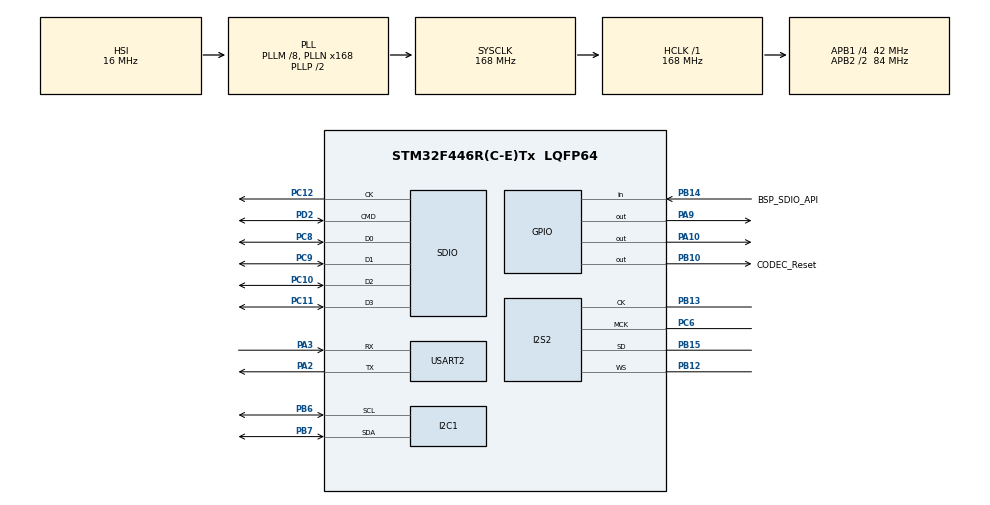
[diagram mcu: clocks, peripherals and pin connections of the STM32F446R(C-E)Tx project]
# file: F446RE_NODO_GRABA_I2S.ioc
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Dma.Request0=SDIO_RX
Dma.Request1=SDIO_TX
Dma.Request2=SPI2_RX
Dma.SDIO_RX.0.Direction=DMA_PERIPH_TO_MEMORY
Dma.SDIO_RX.0.FIFOMode=DMA_FIFOMODE_ENABLE
Dma.SDIO_RX.0.FIFOThreshold=DMA_FIFO_THRESHOLD_FULL
Dma.SDIO_RX.0.Instance=DMA2_Stream3
Dma.SDIO_RX.0.MemBurst=DMA_MBURST_INC4
Dma.SDIO_RX.0.MemDataAlignment=DMA_MDATAALIGN_WORD
Dma.SDIO_RX.0.MemInc=DMA_MINC_ENABLE
Dma.SDIO_RX.0.Mode=DMA_PFCTRL
Dma.SDIO_RX.0.PeriphBurst=DMA_PBURST_INC4
Dma.SDIO_RX.0.PeriphDataAlignment=DMA_PDATAALIGN_WORD
Dma.SDIO_RX.0.PeriphInc=DMA_PINC_DISABLE
Dma.SDIO_RX.0.Priority=DMA_PRIORITY_HIGH
Dma.SDIO_TX.1.Direction=DMA_MEMORY_TO_PERIPH
Dma.SDIO_TX.1.FIFOMode=DMA_FIFOMODE_ENABLE
Dma.SDIO_TX.1.FIFOThreshold=DMA_FIFO_THRESHOLD_FULL
Dma.SDIO_TX.1.Instance=DMA2_Stream6
Dma.SDIO_TX.1.MemBurst=DMA_MBURST_INC4
Dma.SDIO_TX.1.MemDataAlignment=DMA_MDATAALIGN_WORD
Dma.SDIO_TX.1.MemInc=DMA_MINC_ENABLE
Dma.SDIO_TX.1.Mode=DMA_PFCTRL
Dma.SDIO_TX.1.PeriphBurst=DMA_PBURST_INC4
Dma.SDIO_TX.1.PeriphDataAlignment=DMA_PDATAALIGN_WORD
Dma.SDIO_TX.1.PeriphInc=DMA_PINC_DISABLE
Dma.SDIO_TX.1.Priority=DMA_PRIORITY_HIGH
Dma.SPI2_RX.2.Direction=DMA_PERIPH_TO_MEMORY
Dma.SPI2_RX.2.FIFOMode=DMA_FIFOMODE_DISABLE
Dma.SPI2_RX.2.Instance=DMA1_Stream3
Dma.SPI2_RX.2.MemDataAlignment=DMA_MDATAALIGN_WORD
Dma.SPI2_RX.2.MemInc=DMA_MINC_ENABLE
Dma.SPI2_RX.2.Mode=DMA_NORMAL
Dma.SPI2_RX.2.PeriphDataAlignment=DMA_PDATAALIGN_WORD
Dma.SPI2_RX.2.PeriphInc=DMA_PINC_DISABLE
Dma.SPI2_RX.2.Priority=DMA_PRIORITY_LOW
FATFS.BSP.number=1
FATFS._USE_CHMOD=1
FATFS._USE_LABEL=1
FATFS0.BSP.STBoard=false
FATFS0.BSP.api=Unknown
FATFS0.BSP.instance=PB14
FATFS0.BSP.ip=GPIO
FATFS0.BSP.mode=Input
FATFS0.BSP.name=Detect_SDIO
FATFS0.BSP.solution=PB14
I2C1.I2C_Mode=I2C_Standard
I2S2.AudioFreq=I2S_AUDIOFREQ_48K
I2S2.CPOL=I2S_CPOL_LOW
I2S2.DataFormat=I2S_DATAFORMAT_16B
I2S2.ErrorAudioFreq=1.72 %
I2S2.FullDuplexMode=I2S_FULLDUPLEXMODE_DISABLE
I2S2.Instance=SPI$Index
I2S2.Mode=I2S_MODE_MASTER_RX
I2S2.RealAudioFreq=48.828 KHz
I2S2.VirtualMode=I2S_MODE_MASTER
Mcu.Family=STM32F4
Mcu.Name=STM32F446R(C-E)Tx
Mcu.Package=LQFP64
NVIC.DMA1_Stream3_IRQn=true\:0\:0\:false\:false\:true\:false\:true\:true
NVIC.DMA2_Stream3_IRQn=true\:0\:0\:false\:false\:true\:false\:true\:true
NVIC.DMA2_Stream6_IRQn=true\:0\:0\:false\:false\:true\:false\:true\:true
NVIC.PriorityGroup=NVIC_PRIORITYGROUP_4
NVIC.SDIO_IRQn=true\:0\:0\:false\:false\:true\:true\:true\:true
NVIC.USART2_IRQn=true\:0\:0\:false\:false\:true\:true\:true\:true
PA10.Signal=GPIO_Output
PA13.Mode=Serial_Wire
PA13.Signal=SYS_JTMS-SWDIO
PA14.Mode=Serial_Wire
PA14.Signal=SYS_JTCK-SWCLK
PA2.Mode=Asynchronous
PA2.Signal=USART2_TX
PA3.Mode=Asynchronous
PA3.Signal=USART2_RX
PA9.Signal=GPIO_Output
PB10.GPIO_Label=CODEC_Reset
PB10.Signal=GPIO_Output
PB12.Mode=Half_Duplex_Master
PB12.Signal=I2S2_WS
PB13.Mode=Half_Duplex_Master
PB13.Signal=I2S2_CK
PB14.GPIO_Label=BSP_SDIO_API
PB14.Signal=GPIO_Input
PB15.Mode=Half_Duplex_Master
PB15.Signal=I2S2_SD
PB6.Mode=I2C
PB6.Signal=I2C1_SCL
PB7.Mode=I2C
PB7.Signal=I2C1_SDA
PC10.GPIO_PuPd=GPIO_PULLUP
PC10.Mode=SD_4_bits_Wide_bus
PC10.Signal=SDIO_D2
PC11.GPIO_PuPd=GPIO_PULLUP
PC11.Mode=SD_4_bits_Wide_bus
PC11.Signal=SDIO_D3
PC12.Mode=SD_4_bits_Wide_bus
PC12.Signal=SDIO_CK
PC6.Mode=Master_Clock_Activated
PC6.Signal=I2S2_MCK
PC8.GPIO_PuPd=GPIO_PULLUP
PC8.Mode=SD_4_bits_Wide_bus
PC8.Signal=SDIO_D0
PC9.GPIO_PuPd=GPIO_PULLUP
PC9.Mode=SD_4_bits_Wide_bus
PC9.Signal=SDIO_D1
PD2.GPIO_PuPd=GPIO_PULLUP
PD2.Mode=SD_4_bits_Wide_bus
PD2.Signal=SDIO_CMD
PH0-OSC_IN.Mode=HSE-External-Oscillator
PH0-OSC_IN.Signal=RCC_OSC_IN
PH1-OSC_OUT.Mode=HSE-External-Oscillator
PH1-OSC_OUT.Signal=RCC_OSC_OUT
ProjectManager.HeapSize=0x200
ProjectManager.StackSize=0x400
ProjectManager.TargetToolchain=STM32CubeIDE
RCC.AHBFreq_Value=168000000
RCC.APB1CLKDivider=RCC_HCLK_DIV4
RCC.APB1Freq_Value=42000000
RCC.APB1TimFreq_Value=84000000
RCC.APB2CLKDivider=RCC_HCLK_DIV2
RCC.APB2Freq_Value=84000000
RCC.APB2TimFreq_Value=168000000
RCC.CortexFreq_Value=168000000
RCC.HCLKFreq_Value=168000000
RCC.HSE_VALUE=16000000
RCC.PLLI2SM=8
RCC.PLLI2SN=50
RCC.PLLM=8
RCC.PLLN=168
RCC.PLLQ=7
RCC.PWREXT_OverDrive=PWREXT_OverDrive_ACTIVATED
RCC.SYSCLKFreq_VALUE=168000000
RCC.SYSCLKSource=RCC_SYSCLKSOURCE_PLLCLK
RCC.USBFreq_Value=48000000
RCC.VCOOutputFreq_Value=336000000
SDIO.ClockDiv=0
SDIO.HardwareFlowControl=SDIO_HARDWARE_FLOW_CONTROL_ENABLE
USART2.VirtualMode=VM_ASYNC
VP_CRC_VS_CRC.Mode=CRC_Activate
VP_FATFS_VS_SDIO.Mode=SDIO
board=custom

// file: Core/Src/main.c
/* USER CODE BEGIN Header */
/**
 ******************************************************************************
 * @file           : main.c
 * @brief          : Main program body
 ******************************************************************************
 * @attention
 *
 * Copyright (c) 2022 STMicroelectronics.
 * All rights reserved.
 *
 * This software is licensed under terms that can be found in the LICENSE file
 * in the root directory of this software component.
 * If no LICENSE file comes with this software, it is provided AS-IS.
 *
 ******************************************************************************
 */
/* USER CODE END Header */
#include "main.h"
#include "fatfs.h"

/* USER CODE BEGIN Includes */
#include "AIC3254.h"
#include <string.h>
#include <stdio.h>
/* USER CODE END Includes */

/* USER CODE BEGIN PTD */
typedef union {
	uint32_t w;
	char b[4];
} _WORD;
typedef union {
	uint16_t hw;
	char b[2];
} _HALF_WORD;
typedef struct _WaveHeader{
	char riff[4];
	uint32_t size;
	char wave[4];
	char fmt[4];
	uint32_t fmt_size;
	uint16_t format; //1:PCM
	uint16_t channels; // channels
	uint32_t sampleRate;  // sample rate
	uint32_t rbc;//sampleRate*bitsPerSample*channels/8
	uint16_t bc; //bitsPerSample*channels/8
	uint16_t bitsPerSample; //bitsPerSample
	char data[4];
	uint32_t data_size;
} WAVE_HEADER;
/* USER CODE END PTD */

/* USER CODE BEGIN PD */
#define MAX_DMA_ACCESS_COUNT	(40960)

#define DMA_READ_SIZE			(128)

#define BUFFER_COUNT			(4)

#define STATE_STOP				1
#define STATE_RECORDING			2
#define STATE_START_RECORDING	3
#define CONNECTING				4
/* USER CODE END PD */

CRC_HandleTypeDef hcrc;

I2C_HandleTypeDef hi2c1;

I2S_HandleTypeDef hi2s2;
DMA_HandleTypeDef hdma_spi2_rx;

SD_HandleTypeDef hsd;
DMA_HandleTypeDef hdma_sdio_rx;
DMA_HandleTypeDef hdma_sdio_tx;

UART_HandleTypeDef huart2;

/* USER CODE BEGIN PV */
AIC3254_t codec;
uint16_t DMA_TxRx_SIZE = DMA_READ_SIZE*2;
static uint16_t rcvBuf[DMA_READ_SIZE*2*BUFFER_COUNT];
static uint32_t rCount=0, wCount=0;
static uint8_t audio_state = CONNECTING;
FRESULT res;
static char RX_data[1];

/* USER CODE END PV */

void SystemClock_Config(void);
static void MX_GPIO_Init(void);
static void MX_DMA_Init(void);
static void MX_I2C1_Init(void);
static void MX_I2S2_Init(void);
static void MX_SDIO_SD_Init(void);
static void MX_CRC_Init(void);
static void MX_USART2_UART_Init(void);
/* USER CODE BEGIN PFP */
FRESULT fwrite_wav_header(FIL* file, uint16_t sampleRate, uint8_t bitsPerSample, uint8_t channels);
void startRecord(char *filename);
FRESULT Format_SD (void);

/* USER CODE END PFP */

int main(void)
{

  /* MCU Configuration--------------------------------------------------------*/

  /* Reset of all peripherals, Initializes the Flash interface and the Systick. */
  HAL_Init();

  /* Configure the system clock */
  SystemClock_Config();

  /* Initialize all configured peripherals */
  MX_GPIO_Init();
  MX_DMA_Init();
  MX_I2C1_Init();
  MX_I2S2_Init();
  MX_SDIO_SD_Init();
  MX_FATFS_Init();
  MX_CRC_Init();
  MX_USART2_UART_Init();
  /* USER CODE BEGIN 2 */

  /* Initialize CODEC */
  HAL_GPIO_WritePin(CODEC_Reset_GPIO_Port, CODEC_Reset_Pin, GPIO_PIN_SET);
  HAL_Delay(1);
  HAL_GPIO_WritePin(CODEC_Reset_GPIO_Port, CODEC_Reset_Pin, GPIO_PIN_RESET);
  HAL_Delay(1);
  HAL_GPIO_WritePin(CODEC_Reset_GPIO_Port, CODEC_Reset_Pin, GPIO_PIN_SET);
  HAL_Delay(2);
  AIC3254_Init(&codec, &hi2c1);

  /* USER CODE END 2 */

  /* Infinite loop */
  /* USER CODE BEGIN WHILE */
  char filename[256];

  do
  {
	  res = f_mount(&SDFatFS, SDPath, 1);
  }
  while( res != FR_OK);

  do
  {
	  res = Format_SD();
  }
  while (res != FR_OK);

  HAL_UART_Receive_IT(&huart2, (uint8_t *) RX_data, 1);
  HAL_GPIO_WritePin(GPIOA, GPIO_PIN_9, GPIO_PIN_SET);
  HAL_GPIO_WritePin(GPIOA, GPIO_PIN_10, GPIO_PIN_RESET);
  do
  {
	  HAL_GPIO_TogglePin(GPIOA, GPIO_PIN_9);
	  HAL_GPIO_TogglePin(GPIOA, GPIO_PIN_10);
	  HAL_Delay(150);
  }
  while(audio_state == CONNECTING);
  HAL_GPIO_WritePin(GPIOA, GPIO_PIN_9, GPIO_PIN_RESET);
  HAL_GPIO_WritePin(GPIOA, GPIO_PIN_10, GPIO_PIN_RESET);

  for (int i = 0; i < 4; i++)
  {
	  HAL_GPIO_TogglePin(GPIOA, GPIO_PIN_9);
	  HAL_GPIO_TogglePin(GPIOA, GPIO_PIN_10);
	  HAL_Delay(500);
  }

  uint16_t count = 0;
  while (1)
  {
	  if(audio_state == STATE_START_RECORDING)
	  {
		  HAL_Delay(1);
		  sprintf(filename, "%sr_%05d.wav", SDPath, count++);
		  startRecord(filename);
	  }
    /* USER CODE END WHILE */

  }
}

void SystemClock_Config(void)
{
  RCC_OscInitTypeDef RCC_OscInitStruct = {0};
  RCC_ClkInitTypeDef RCC_ClkInitStruct = {0};

  /** Configure the main internal regulator output voltage
  */
  __HAL_RCC_PWR_CLK_ENABLE();
  __HAL_PWR_VOLTAGESCALING_CONFIG(PWR_REGULATOR_VOLTAGE_SCALE2);

  /** Initializes the RCC Oscillators according to the specified parameters
  * in the RCC_OscInitTypeDef structure.
  */
  RCC_OscInitStruct.OscillatorType = RCC_OSCILLATORTYPE_HSI;
  RCC_OscInitStruct.HSIState = RCC_HSI_ON;
  RCC_OscInitStruct.HSICalibrationValue = RCC_HSICALIBRATION_DEFAULT;
  RCC_OscInitStruct.PLL.PLLState = RCC_PLL_ON;
  RCC_OscInitStruct.PLL.PLLSource = RCC_PLLSOURCE_HSI;
  RCC_OscInitStruct.PLL.PLLM = 8;
  RCC_OscInitStruct.PLL.PLLN = 168;
  RCC_OscInitStruct.PLL.PLLP = RCC_PLLP_DIV2;
  RCC_OscInitStruct.PLL.PLLQ = 7;
  RCC_OscInitStruct.PLL.PLLR = 2;
  if (HAL_RCC_OscConfig(&RCC_OscInitStruct) != HAL_OK)
  {
    Error_Handler();
  }

  /** Activate the Over-Drive mode
  */
  if (HAL_PWREx_EnableOverDrive() != HAL_OK)
  {
    Error_Handler();
  }

  /** Initializes the CPU, AHB and APB buses clocks
  */
  RCC_ClkInitStruct.ClockType = RCC_CLOCKTYPE_HCLK|RCC_CLOCKTYPE_SYSCLK
                              |RCC_CLOCKTYPE_PCLK1|RCC_CLOCKTYPE_PCLK2;
  RCC_ClkInitStruct.SYSCLKSource = RCC_SYSCLKSOURCE_PLLCLK;
  RCC_ClkInitStruct.AHBCLKDivider = RCC_SYSCLK_DIV1;
  RCC_ClkInitStruct.APB1CLKDivider = RCC_HCLK_DIV4;
  RCC_ClkInitStruct.APB2CLKDivider = RCC_HCLK_DIV2;

  if (HAL_RCC_ClockConfig(&RCC_ClkInitStruct, FLASH_LATENCY_5) != HAL_OK)
  {
    Error_Handler();
  }
}

static void MX_CRC_Init(void)
{

  hcrc.Instance = CRC;
  if (HAL_CRC_Init(&hcrc) != HAL_OK)
  {
    Error_Handler();
  }

}

static void MX_I2C1_Init(void)
{

  hi2c1.Instance = I2C1;
  hi2c1.Init.ClockSpeed = 100000;
  hi2c1.Init.DutyCycle = I2C_DUTYCYCLE_2;
  hi2c1.Init.OwnAddress1 = 0;
  hi2c1.Init.AddressingMode = I2C_ADDRESSINGMODE_7BIT;
  hi2c1.Init.DualAddressMode = I2C_DUALADDRESS_DISABLE;
  hi2c1.Init.OwnAddress2 = 0;
  hi2c1.Init.GeneralCallMode = I2C_GENERALCALL_DISABLE;
  hi2c1.Init.NoStretchMode = I2C_NOSTRETCH_DISABLE;
  if (HAL_I2C_Init(&hi2c1) != HAL_OK)
  {
    Error_Handler();
  }

}

static void MX_I2S2_Init(void)
{

  hi2s2.Instance = SPI2;
  hi2s2.Init.Mode = I2S_MODE_MASTER_RX;
  hi2s2.Init.Standard = I2S_STANDARD_PHILIPS;
  hi2s2.Init.DataFormat = I2S_DATAFORMAT_16B;
  hi2s2.Init.MCLKOutput = I2S_MCLKOUTPUT_ENABLE;
  hi2s2.Init.AudioFreq = I2S_AUDIOFREQ_48K;
  hi2s2.Init.CPOL = I2S_CPOL_LOW;
  hi2s2.Init.ClockSource = I2S_CLOCK_PLL;
  hi2s2.Init.FullDuplexMode = I2S_FULLDUPLEXMODE_DISABLE;
  if (HAL_I2S_Init(&hi2s2) != HAL_OK)
  {
    Error_Handler();
  }

}

static void MX_SDIO_SD_Init(void)
{

  hsd.Instance = SDIO;
  hsd.Init.ClockEdge = SDIO_CLOCK_EDGE_RISING;
  hsd.Init.ClockBypass = SDIO_CLOCK_BYPASS_DISABLE;
  hsd.Init.ClockPowerSave = SDIO_CLOCK_POWER_SAVE_DISABLE;
  hsd.Init.BusWide = SDIO_BUS_WIDE_1B;
  hsd.Init.HardwareFlowControl = SDIO_HARDWARE_FLOW_CONTROL_ENABLE;
  hsd.Init.ClockDiv = 0;

}

static void MX_USART2_UART_Init(void)
{

  huart2.Instance = USART2;
  huart2.Init.BaudRate = 115200;
  huart2.Init.WordLength = UART_WORDLENGTH_8B;
  huart2.Init.StopBits = UART_STOPBITS_1;
  huart2.Init.Parity = UART_PARITY_NONE;
  huart2.Init.Mode = UART_MODE_TX_RX;
  huart2.Init.HwFlowCtl = UART_HWCONTROL_NONE;
  huart2.Init.OverSampling = UART_OVERSAMPLING_16;
  if (HAL_UART_Init(&huart2) != HAL_OK)
  {
    Error_Handler();
  }

}

static void MX_DMA_Init(void)
{

  /* DMA controller clock enable */
  __HAL_RCC_DMA2_CLK_ENABLE();
  __HAL_RCC_DMA1_CLK_ENABLE();

  /* DMA interrupt init */
  /* DMA1_Stream3_IRQn interrupt configuration */
  HAL_NVIC_SetPriority(DMA1_Stream3_IRQn, 0, 0);
  HAL_NVIC_EnableIRQ(DMA1_Stream3_IRQn);
  /* DMA2_Stream3_IRQn interrupt configuration */
  HAL_NVIC_SetPriority(DMA2_Stream3_IRQn, 0, 0);
  HAL_NVIC_EnableIRQ(DMA2_Stream3_IRQn);
  /* DMA2_Stream6_IRQn interrupt configuration */
  HAL_NVIC_SetPriority(DMA2_Stream6_IRQn, 0, 0);
  HAL_NVIC_EnableIRQ(DMA2_Stream6_IRQn);

}

static void MX_GPIO_Init(void)
{
  GPIO_InitTypeDef GPIO_InitStruct = {0};

  /* GPIO Ports Clock Enable */
  __HAL_RCC_GPIOH_CLK_ENABLE();
  __HAL_RCC_GPIOA_CLK_ENABLE();
  __HAL_RCC_GPIOB_CLK_ENABLE();
  __HAL_RCC_GPIOC_CLK_ENABLE();
  __HAL_RCC_GPIOD_CLK_ENABLE();

  /*Configure GPIO pin Output Level */
  HAL_GPIO_WritePin(CODEC_Reset_GPIO_Port, CODEC_Reset_Pin, GPIO_PIN_RESET);

  /*Configure GPIO pin Output Level */
  HAL_GPIO_WritePin(GPIOA, GPIO_PIN_9|GPIO_PIN_10, GPIO_PIN_RESET);

  /*Configure GPIO pin : CODEC_Reset_Pin */
  GPIO_InitStruct.Pin = CODEC_Reset_Pin;
  GPIO_InitStruct.Mode = GPIO_MODE_OUTPUT_PP;
  GPIO_InitStruct.Pull = GPIO_NOPULL;
  GPIO_InitStruct.Speed = GPIO_SPEED_FREQ_LOW;
  HAL_GPIO_Init(CODEC_Reset_GPIO_Port, &GPIO_InitStruct);

  /*Configure GPIO pin : BSP_SDIO_API_Pin */
  GPIO_InitStruct.Pin = BSP_SDIO_API_Pin;
  GPIO_InitStruct.Mode = GPIO_MODE_INPUT;
  GPIO_InitStruct.Pull = GPIO_NOPULL;
  HAL_GPIO_Init(BSP_SDIO_API_GPIO_Port, &GPIO_InitStruct);

  /*Configure GPIO pins : PA9 PA10 */
  GPIO_InitStruct.Pin = GPIO_PIN_9|GPIO_PIN_10;
  GPIO_InitStruct.Mode = GPIO_MODE_OUTPUT_PP;
  GPIO_InitStruct.Pull = GPIO_NOPULL;
  GPIO_InitStruct.Speed = GPIO_SPEED_FREQ_LOW;
  HAL_GPIO_Init(GPIOA, &GPIO_InitStruct);

}

/* USER CODE BEGIN 4 */
void HAL_I2S_RxCpltCallback(I2S_HandleTypeDef *hi2s){
	uint16_t *rpt;

	rCount++;
	rpt = (rcvBuf)+(rCount%BUFFER_COUNT)*DMA_TxRx_SIZE;
	HAL_I2S_Receive_DMA(hi2s, rpt, DMA_READ_SIZE);
}

FRESULT fwrite_wav_header(FIL* file, uint16_t sampleRate, uint8_t bitsPerSample, uint8_t channels) {
	UINT bw;
	WAVE_HEADER wave_header;
	wave_header.riff[0] = 'R';wave_header.riff[1] = 'I';
	wave_header.riff[2] = 'F';wave_header.riff[3] = 'F';
	wave_header.size = (uint32_t)0;
	wave_header.wave[0] = 'W';wave_header.wave[1] = 'A';
	wave_header.wave[2] = 'V';wave_header.wave[3] = 'E';
	wave_header.fmt[0] = 'f';wave_header.fmt[1] = 'm';
	wave_header.fmt[2] = 't';wave_header.fmt[3] = ' ';
	wave_header.fmt_size = 16;
	wave_header.format = 1; // PCM
	wave_header.channels = channels; // channels
	wave_header.sampleRate=sampleRate;  // sample rate
	wave_header.rbc = sampleRate*bitsPerSample*channels/8;
	wave_header.bc =  bitsPerSample*channels/8;
	wave_header.bitsPerSample = bitsPerSample; //bitsPerSample
	wave_header.data[0] = 'd'; wave_header.data[1] = 'a';
	wave_header.data[2] = 't'; wave_header.data[3] = 'a';
	wave_header.data_size = 0;
	return f_write(file, (uint8_t*)&wave_header, sizeof(wave_header), &bw);
}

void startRecord(char *filename) {
	uint16_t *rpt, *wpt;
	UINT bw;
	UINT writeBytes;
	UINT skipCount=125;// skip 0.5 second
	FIL fp;
	FRESULT res;

	writeBytes = DMA_TxRx_SIZE*2;
	do
	{
		res = f_open(&fp, filename, FA_CREATE_ALWAYS|FA_WRITE);
	}
	while(res != FR_OK);
	res = fwrite_wav_header(&fp, 48000, 16, 2);

	HAL_GPIO_WritePin(GPIOA, GPIO_PIN_9, GPIO_PIN_SET);
	audio_state = STATE_RECORDING;
	rpt = rcvBuf;
	wpt = rpt;
	rCount=0; wCount=0;
	HAL_I2S_Receive_DMA(&hi2s2, rpt, DMA_READ_SIZE);

	while (1)
	{
		if (wCount < rCount ) {
			if (rCount > skipCount)
			{
				res = f_write(&fp, wpt, writeBytes, &bw);
			}
			 wCount++;
			 wpt = (rcvBuf)+(wCount%BUFFER_COUNT)*DMA_TxRx_SIZE;
		  }

		  if (audio_state == STATE_STOP || rCount > MAX_DMA_ACCESS_COUNT)
		  {
			  HAL_I2S_DMAStop(&hi2s2);
			  break;
		  }
	}
	uint32_t data_len = (wCount-1) * writeBytes;
	uint32_t total_len = data_len+36;
	f_lseek(&fp, 4);
	f_write(&fp, (uint8_t*)&total_len, 4, &bw);
	f_lseek(&fp, 40);
	f_write(&fp, (uint8_t*)&data_len, 4, &bw);
	f_close(&fp);
	HAL_GPIO_WritePin(GPIOA, GPIO_PIN_9, GPIO_PIN_RESET);
	audio_state = STATE_STOP;
}

FRESULT Format_SD (void)
{
    DIR dir;
    static FILINFO fno;
    static FRESULT fresult;

    char *path = malloc(20*sizeof (char));
    sprintf (path, "%s","/");

    fresult = f_opendir(&dir, path);                       /* Open the directory */
    if (fresult == FR_OK)
    {
        for (;;)
        {
            fresult = f_readdir(&dir, &fno);                   /* Read a directory item */
            if (fresult != FR_OK || fno.fname[0] == 0) break;  /* Break on error or end of dir */
            if (fno.fattrib & AM_DIR)     /* It is a directory */
            {
            	if (!(strcmp ("SYSTEM~1", fno.fname))) continue;
            	fresult = f_unlink(fno.fname);
            	if (fresult == FR_DENIED) continue;
            }
            else
            {   /* It is a file. */
               fresult = f_unlink(fno.fname);
            }
        }
        f_closedir(&dir);
    }
    free(path);
    return fresult;
}

void HAL_UART_RxCpltCallback(UART_HandleTypeDef *huart)
{

	switch (RX_data[0])
	{
	case 'G':
		audio_state = STATE_START_RECORDING;
		break;
	case 'P':
		audio_state = STATE_STOP;
		break;
	case '.':
		audio_state = CONNECTING;
		break;
	case '+':
		audio_state = STATE_STOP;
		break;
	default:
		break;
	}
	HAL_UART_Receive_IT(&huart2, (uint8_t *) RX_data, 1);
}
/* USER CODE END 4 */

void Error_Handler(void)
{
  __disable_irq();
  while (1)
  {
  }
}
